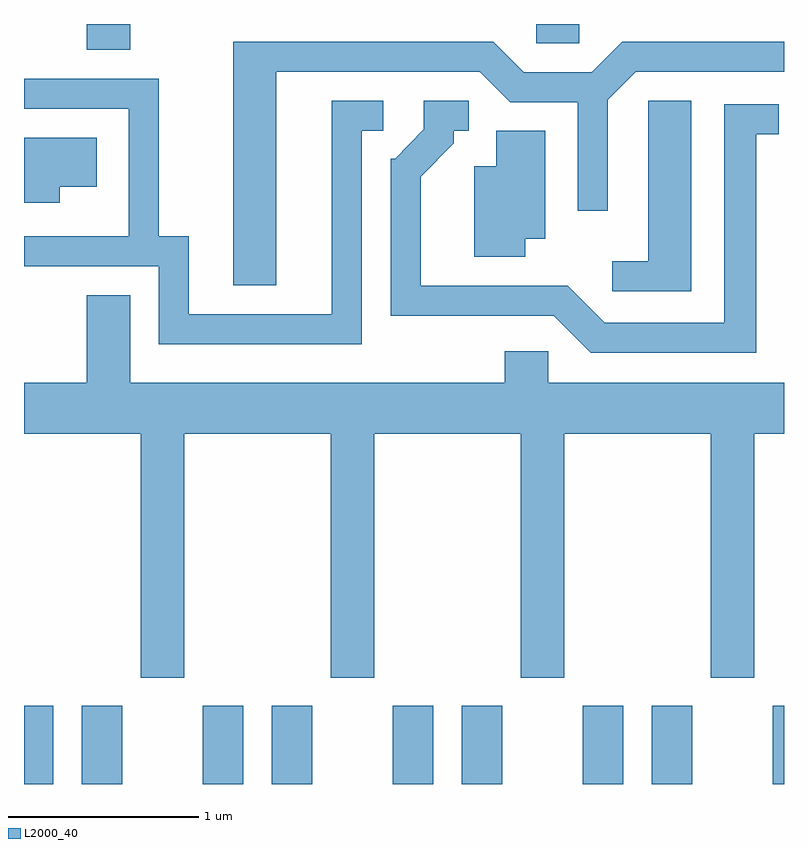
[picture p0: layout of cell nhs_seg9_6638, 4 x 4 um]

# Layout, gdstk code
import gdstk
lib = gdstk.Library(unit=1e-6, precision=1e-09)
def R(c, l, rs):  # rectangles x0, y0, x1, y1
    for r in rs: c.add(gdstk.rectangle(r[:2], r[2:], *l))
def P(c, l, *ps):  # polygons
    for p in ps: c.add(gdstk.Polygon(p, *l))
L2000_40 = (2000, 40)

nhs_seg9_6638 = lib.new_cell('nhs_seg9_6638')
R(nhs_seg9_6638, L2000_40, [(381.611,1974.432,381.764,1974.844), (381.916,1974.432,382.129,1974.844), (382.551,1974.432,382.764,1974.844), (382.916,1974.432,383.129,1974.844), (383.551,1974.432,383.764,1974.844), (383.916,1974.432,384.129,1974.844), (384.551,1974.432,384.764,1974.844), (384.916,1974.432,385.129,1974.844), (385.551,1974.432,385.611,1974.844), (381.941,1978.296,382.169,1978.432), (384.306,1978.331,384.534,1978.432)])
P(nhs_seg9_6638, L2000_40, [(382.939,1978.181),(384.009,1978.181),(384.169,1978.021),(384.526,1978.021),(384.526,1977.448),(384.684,1977.448),(384.684,1978.034),(384.832,1978.181),(385.611,1978.181),(385.611,1978.339),(384.759,1978.339),(384.599,1978.179),(384.242,1978.179),(384.082,1978.339),(382.711,1978.339),(382.711,1977.056),(382.939,1977.056)],
  [(383.389,1977.871),(383.503,1977.871),(383.503,1978.029),(383.231,1978.029),(383.231,1976.904),(382.479,1976.904),(382.479,1977.314),(382.319,1977.314),(382.319,1978.144),(381.611,1978.144),(381.611,1977.986),(382.161,1977.986),(382.161,1977.314),(381.611,1977.314),(381.611,1977.156),(382.321,1977.156),(382.321,1976.746),(383.389,1976.746)],
  [(385.464,1977.851),(385.583,1977.851),(385.583,1978.009),(385.296,1978.009),(385.296,1976.859),(384.667,1976.859),(384.472,1977.054),(383.699,1977.054),(383.699,1977.629),(383.874,1977.804),(383.874,1977.871),(383.953,1977.871),(383.953,1978.029),(383.716,1978.029),(383.716,1977.877),(383.564,1977.724),(383.541,1977.724),(383.541,1976.896),(384.399,1976.896),(384.594,1976.701),(385.464,1976.701)],
  [(385.124,1978.029),(384.896,1978.029),(384.896,1977.184),(384.708,1977.184),(384.708,1977.026),(385.124,1977.026)],
  [(384.249,1977.301),(384.354,1977.301),(384.354,1977.869),(384.096,1977.869),(384.096,1977.684),(383.981,1977.684),(383.981,1977.206),(384.249,1977.206)],
  [(381.799,1977.576),(381.994,1977.576),(381.994,1977.834),(381.611,1977.834),(381.611,1977.491),(381.799,1977.491)],
  [(382.454,1976.276),(383.226,1976.276),(383.226,1974.991),(383.454,1974.991),(383.454,1976.276),(384.226,1976.276),(384.226,1974.991),(384.454,1974.991),(384.454,1976.276),(385.226,1976.276),(385.226,1974.991),(385.454,1974.991),(385.454,1976.276),(385.611,1976.276),(385.611,1976.544),(384.369,1976.544),(384.369,1976.709),(384.141,1976.709),(384.141,1976.544),(382.169,1976.544),(382.169,1977.004),(381.941,1977.004),(381.941,1976.544),(381.611,1976.544),(381.611,1976.276),(382.226,1976.276),(382.226,1974.991),(382.454,1974.991)])

lib.write_gds('nhs_seg9_6638.gds')
